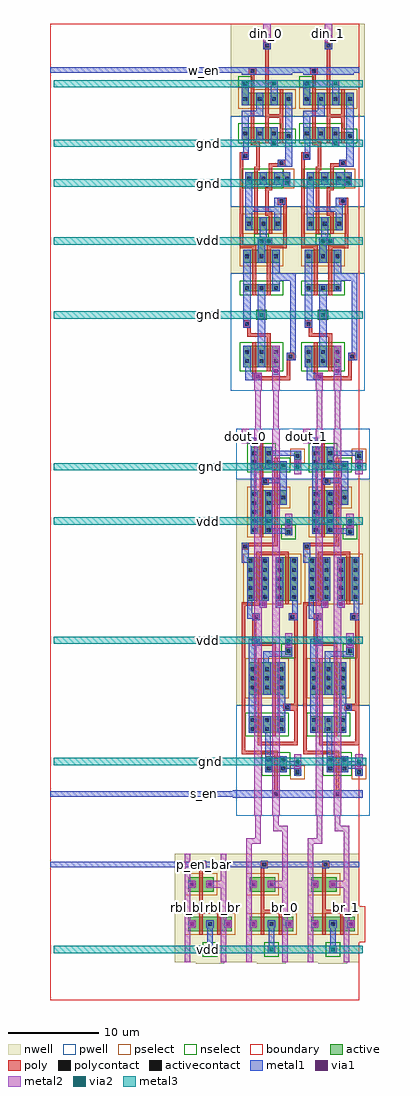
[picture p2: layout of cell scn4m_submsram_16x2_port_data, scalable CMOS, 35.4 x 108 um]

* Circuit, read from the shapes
.subckt scn4m_submsram_16x2_port_data bl_0 bl_1 br_0 br_1 din_0 din_1 dout_0 dout_1 gnd p_en_bar rbl_bl rbl_br s_en vdd w_en
M1 n1 w_en n2 gnd nfet w=1.4u l=0.4u
M2 gnd n3 bl_0 gnd nfet w=2.4u l=0.4u
M3 gnd n2 n4 gnd nfet w=0.8u l=0.4u
M4 n5 w_en n6 gnd nfet w=1.4u l=0.4u
M5 n7 n8 n9 gnd nfet w=1.8u l=0.4u
M6 gnd n10 dout_0 gnd nfet w=2.4u l=0.4u
M7 gnd din_0 n1 gnd nfet w=1.4u l=0.4u
M8 br_0 n4 gnd gnd nfet w=2.4u l=0.4u
M9 n3 n6 gnd gnd nfet w=0.8u l=0.4u
M10 gnd n11 n5 gnd nfet w=1.4u l=0.4u
M11 n8 n9 n7 gnd nfet w=1.8u l=0.4u
M12 gnd s_en n7 gnd nfet w=1.8u l=0.4u
M13 n10 n9 gnd gnd nfet w=0.8u l=0.4u
M14 n11 din_0 gnd gnd nfet w=0.8u l=0.4u
M15 n12 w_en n13 gnd nfet w=1.4u l=0.4u
M16 gnd n14 bl_1 gnd nfet w=2.4u l=0.4u
M17 gnd n13 n15 gnd nfet w=0.8u l=0.4u
M18 n16 w_en n17 gnd nfet w=1.4u l=0.4u
M19 n18 n19 n20 gnd nfet w=1.8u l=0.4u
M20 gnd n21 dout_1 gnd nfet w=2.4u l=0.4u
M21 gnd din_1 n12 gnd nfet w=1.4u l=0.4u
M22 br_1 n15 gnd gnd nfet w=2.4u l=0.4u
M23 n14 n17 gnd gnd nfet w=0.8u l=0.4u
M24 gnd n22 n16 gnd nfet w=1.4u l=0.4u
M25 n19 n20 n18 gnd nfet w=1.8u l=0.4u
M26 gnd s_en n18 gnd nfet w=1.8u l=0.4u
M27 n21 n20 gnd gnd nfet w=0.8u l=0.4u
M28 n22 din_1 gnd gnd nfet w=0.8u l=0.4u
M29 vdd p_en_bar rbl_bl vdd pfet w=1.6u l=0.4u
M30 rbl_br p_en_bar rbl_bl vdd pfet w=1.6u l=0.4u
M31 rbl_br p_en_bar vdd vdd pfet w=1.6u l=0.4u
M32 n2 w_en vdd vdd pfet w=1.4u l=0.4u
M33 vdd n2 n4 vdd pfet w=1.4u l=0.4u
M34 vdd w_en n6 vdd pfet w=1.4u l=0.4u
M35 bl_0 s_en n9 vdd pfet w=4.8u l=0.4u
M36 vdd n8 n9 vdd pfet w=3.6u l=0.4u
M37 vdd n10 dout_0 vdd pfet w=4.8u l=0.4u
M38 vdd p_en_bar bl_0 vdd pfet w=1.6u l=0.4u
M39 br_0 p_en_bar bl_0 vdd pfet w=1.6u l=0.4u
M40 vdd din_0 n2 vdd pfet w=1.4u l=0.4u
M41 n3 n6 vdd vdd pfet w=1.4u l=0.4u
M42 n6 n11 vdd vdd pfet w=1.4u l=0.4u
M43 n8 n9 vdd vdd pfet w=3.6u l=0.4u
M44 n10 n9 vdd vdd pfet w=1.6u l=0.4u
M45 br_0 p_en_bar vdd vdd pfet w=1.6u l=0.4u
M46 n11 din_0 vdd vdd pfet w=1.4u l=0.4u
M47 n8 s_en br_0 vdd pfet w=4.8u l=0.4u
M48 n13 w_en vdd vdd pfet w=1.4u l=0.4u
M49 vdd n13 n15 vdd pfet w=1.4u l=0.4u
M50 vdd w_en n17 vdd pfet w=1.4u l=0.4u
M51 bl_1 s_en n20 vdd pfet w=4.8u l=0.4u
M52 vdd n19 n20 vdd pfet w=3.6u l=0.4u
M53 vdd n21 dout_1 vdd pfet w=4.8u l=0.4u
M54 vdd p_en_bar bl_1 vdd pfet w=1.6u l=0.4u
M55 br_1 p_en_bar bl_1 vdd pfet w=1.6u l=0.4u
M56 vdd din_1 n13 vdd pfet w=1.4u l=0.4u
M57 n14 n17 vdd vdd pfet w=1.4u l=0.4u
M58 n17 n22 vdd vdd pfet w=1.4u l=0.4u
M59 n19 n20 vdd vdd pfet w=3.6u l=0.4u
M60 n21 n20 vdd vdd pfet w=1.6u l=0.4u
M61 br_1 p_en_bar vdd vdd pfet w=1.6u l=0.4u
M62 n22 din_1 vdd vdd pfet w=1.4u l=0.4u
M63 n19 s_en br_1 vdd pfet w=4.8u l=0.4u
.ends

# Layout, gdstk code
import gdstk
lib = gdstk.Library(unit=1e-6, precision=1e-09)
def R(c, l, rs):  # rectangles x0, y0, x1, y1
    for r in rs: c.add(gdstk.rectangle(r[:2], r[2:], *l))
def A(c, l, x, y, w, h, nx, ny, dx, dy):  # array of equal rectangles
    R(c, l, [(x+i*dx, y+j*dy, x+i*dx+w, y+j*dy+h) for i in range(nx) for j in range(ny)])
def P(c, l, *ps):  # polygons
    for p in ps: c.add(gdstk.Polygon(p, *l))
pwell = (41, 0)
nwell = (42, 0)
active = (43, 0)
pselect = (44, 0)
nselect = (45, 0)
poly = (46, 0)
polycontact = (47, 0)
activecontact = (48, 0)
metal1 = (49, 0)
via1 = (50, 0)
metal2 = (51, 0)
via2 = (61, 0)
metal3 = (62, 0)
boundary = (63, 0)

scn4m_submsram_16x2_cont = lib.new_cell('scn4m_submsram_16x2_contact_12')
R(scn4m_submsram_16x2_cont, nwell, [(-1.2,-1.2,2,2)])
R(scn4m_submsram_16x2_cont, active, [(0,0,0.8,0.8)])
R(scn4m_submsram_16x2_cont, pselect, [(-0.4,-0.4,1.2,1.2)])
R(scn4m_submsram_16x2_cont, activecontact, [(0.2,0.2,0.6,0.6)])
R(scn4m_submsram_16x2_cont, metal1, [(0,0,0.8,0.8)])
R(scn4m_submsram_16x2_cont, boundary, [(-1.2,-1.2,2,2)])

scn4m_submsram_16x2_pmos = lib.new_cell('scn4m_submsram_16x2_pmos_m1_w1_600_sm1_dm1')
R(scn4m_submsram_16x2_pmos, nwell, [(-1.2,-1.2,4,2.8)])
R(scn4m_submsram_16x2_pmos, active, [(0,0,2.8,1.6)])
R(scn4m_submsram_16x2_pmos, pselect, [(-0.4,-0.4,3.2,2)])
R(scn4m_submsram_16x2_pmos, poly, [(1.2,-0.4,1.6,2), (1.2,-0.4,1.6,2)])
R(scn4m_submsram_16x2_pmos, metal1, [(0,0.4,0.8,1.2), (2,0.4,2.8,1.2)])
R(scn4m_submsram_16x2_pmos, boundary, [(-1.2,-1.2,4,2.8)])
scn4m_submsram_16x2_pmos.add(gdstk.Reference(scn4m_submsram_16x2_cont, (0,0.4)))
scn4m_submsram_16x2_pmos.add(gdstk.Reference(scn4m_submsram_16x2_cont, (2,0.4)))
scn4m_submsram_16x2_pmos.add(gdstk.Label('G', (1.4,0.8), layer=46, texttype=0))
scn4m_submsram_16x2_pmos.add(gdstk.Label('S', (0.4,0.8), layer=49, texttype=0))
scn4m_submsram_16x2_pmos.add(gdstk.Label('D', (2.4,0.8), layer=49, texttype=0))

c_scn4m_submsram_16x2_cont = lib.new_cell('scn4m_submsram_16x2_contact_15')
R(c_scn4m_submsram_16x2_cont, poly, [(0,0,0.8,0.8)])
R(c_scn4m_submsram_16x2_cont, polycontact, [(0.2,0.2,0.6,0.6)])
R(c_scn4m_submsram_16x2_cont, metal1, [(0,0,0.8,0.8)])
R(c_scn4m_submsram_16x2_cont, boundary, [(0,0,0.8,0.8)])

c_scn4m_submsram_16x2_cont_ = lib.new_cell('scn4m_submsram_16x2_contact_23')
R(c_scn4m_submsram_16x2_cont_, nwell, [(-1.2,-1.2,2,2)])
R(c_scn4m_submsram_16x2_cont_, active, [(0,0,0.8,0.8)])
R(c_scn4m_submsram_16x2_cont_, nselect, [(-0.4,-0.4,1.2,1.2)])
R(c_scn4m_submsram_16x2_cont_, activecontact, [(0.2,0.2,0.6,0.6)])
R(c_scn4m_submsram_16x2_cont_, metal1, [(0,0,0.8,0.8)])
R(c_scn4m_submsram_16x2_cont_, boundary, [(-1.2,-1.2,2,2)])

c_scn4m_submsram_16x2_cont__ = lib.new_cell('scn4m_submsram_16x2_contact_18')
R(c_scn4m_submsram_16x2_cont__, metal1, [(0,0,0.8,0.8)])
R(c_scn4m_submsram_16x2_cont__, via1, [(0.2,0.2,0.6,0.6)])
R(c_scn4m_submsram_16x2_cont__, metal2, [(0,0,0.8,0.8)])
R(c_scn4m_submsram_16x2_cont__, boundary, [(0,0,0.8,0.8)])

c_scn4m_submsram_16x2_cont___ = lib.new_cell('scn4m_submsram_16x2_contact_24')
R(c_scn4m_submsram_16x2_cont___, metal1, [(0,0,0.8,0.8)])
R(c_scn4m_submsram_16x2_cont___, via1, [(0.2,0.2,0.6,0.6)])
R(c_scn4m_submsram_16x2_cont___, metal2, [(0,0,0.8,0.8)])
R(c_scn4m_submsram_16x2_cont___, boundary, [(0,0,0.8,0.8)])

scn4m_submsram_16x2_prec = lib.new_cell('scn4m_submsram_16x2_precharge_0')
R(scn4m_submsram_16x2_prec, nwell, [(0,0,6.8,12)])
R(scn4m_submsram_16x2_prec, poly, [(2.7,1,3.1,1.4), (2.9,1,3.1,1.4), (2.7,1.2,3.1,2.2), (2.7,4.6,3.1,6.6), (2.7,6.2,5.1,6.6)])
R(scn4m_submsram_16x2_prec, metal1, [(0,0.9,6.8,1.5), (3.6,7.8,4.2,10.6), (3.6,10.3,4.2,10.9)])
R(scn4m_submsram_16x2_prec, metal2, [(1.1,0,1.7,12), (1.1,0,1.7,12), (5.1,0,5.7,12), (5.1,0,5.7,12), (1.4,3,1.9,3.8), (3.9,3,5.4,3.8), (1.4,7.4,1.9,8.2), (5.4,7.4,5.9,8.2)])
R(scn4m_submsram_16x2_prec, boundary, [(0,0,6.8,12)])
scn4m_submsram_16x2_prec.add(gdstk.Reference(scn4m_submsram_16x2_pmos, (1.5,2.6)))
scn4m_submsram_16x2_prec.add(gdstk.Reference(scn4m_submsram_16x2_pmos, (1.5,7)))
scn4m_submsram_16x2_prec.add(gdstk.Reference(scn4m_submsram_16x2_pmos, (3.5,7)))
scn4m_submsram_16x2_prec.add(gdstk.Reference(c_scn4m_submsram_16x2_cont, (2.7,0.8)))
scn4m_submsram_16x2_prec.add(gdstk.Reference(c_scn4m_submsram_16x2_cont_, (3.5,10.2)))
scn4m_submsram_16x2_prec.add(gdstk.Reference(c_scn4m_submsram_16x2_cont__, (3.5,10.2)))
scn4m_submsram_16x2_prec.add(gdstk.Reference(c_scn4m_submsram_16x2_cont___, (1.5,3)))
scn4m_submsram_16x2_prec.add(gdstk.Reference(c_scn4m_submsram_16x2_cont___, (3.5,3)))
scn4m_submsram_16x2_prec.add(gdstk.Reference(c_scn4m_submsram_16x2_cont___, (1.5,7.4)))
scn4m_submsram_16x2_prec.add(gdstk.Reference(c_scn4m_submsram_16x2_cont___, (5.5,7.4)))
scn4m_submsram_16x2_prec.add(gdstk.Label('en_bar', (3.4,1.2), layer=49, texttype=0))
scn4m_submsram_16x2_prec.add(gdstk.Label('vdd', (3.9,10.6), layer=49, texttype=0))
scn4m_submsram_16x2_prec.add(gdstk.Label('bl', (1.4,6), layer=51, texttype=0))
scn4m_submsram_16x2_prec.add(gdstk.Label('br', (5.4,6), layer=51, texttype=0))

c_scn4m_submsram_16x2_cont____ = lib.new_cell('scn4m_submsram_16x2_contact_19')
R(c_scn4m_submsram_16x2_cont____, metal2, [(0,0,0.8,0.8)])
R(c_scn4m_submsram_16x2_cont____, via2, [(0.2,0.2,0.6,0.6)])
R(c_scn4m_submsram_16x2_cont____, metal3, [(0,0,0.8,0.8)])
R(c_scn4m_submsram_16x2_cont____, boundary, [(0,0,0.8,0.8)])

c_scn4m_submsram_16x2_prec = lib.new_cell('scn4m_submsram_16x2_precharge_array')
R(c_scn4m_submsram_16x2_prec, metal1, [(0,0.9,34.2,1.5), (16.9,0.9,17.5,1.5), (16.9,0.9,17.5,1.5), (23.7,0.9,24.3,1.5), (23.7,0.9,24.3,1.5), (30.5,0.9,31.1,1.5), (30.5,0.9,31.1,1.5)])
R(c_scn4m_submsram_16x2_prec, metal2, [(14.9,0,15.5,12), (18.9,0,19.5,12), (21.7,0,22.3,12), (25.7,0,26.3,12), (28.5,0,29.1,12), (32.5,0,33.1,12)])
R(c_scn4m_submsram_16x2_prec, metal3, [(0.4,10.2,34.6,11)])
R(c_scn4m_submsram_16x2_prec, boundary, [(0,0,34.2,12)])
c_scn4m_submsram_16x2_prec.add(gdstk.Reference(scn4m_submsram_16x2_prec, (13.8,0)))
c_scn4m_submsram_16x2_prec.add(gdstk.Reference(scn4m_submsram_16x2_prec, (20.6,0)))
c_scn4m_submsram_16x2_prec.add(gdstk.Reference(scn4m_submsram_16x2_prec, (27.4,0)))
c_scn4m_submsram_16x2_prec.add(gdstk.Reference(c_scn4m_submsram_16x2_cont__, (17.3,10.2)))
c_scn4m_submsram_16x2_prec.add(gdstk.Reference(c_scn4m_submsram_16x2_cont____, (17.3,10.2)))
c_scn4m_submsram_16x2_prec.add(gdstk.Reference(c_scn4m_submsram_16x2_cont__, (24.1,10.2)))
c_scn4m_submsram_16x2_prec.add(gdstk.Reference(c_scn4m_submsram_16x2_cont____, (24.1,10.2)))
c_scn4m_submsram_16x2_prec.add(gdstk.Reference(c_scn4m_submsram_16x2_cont__, (30.9,10.2)))
c_scn4m_submsram_16x2_prec.add(gdstk.Reference(c_scn4m_submsram_16x2_cont____, (30.9,10.2)))
c_scn4m_submsram_16x2_prec.add(gdstk.Label('en_bar', (17.1,1.2), layer=49, texttype=0))
c_scn4m_submsram_16x2_prec.add(gdstk.Label('bl_0', (15.2,6), layer=51, texttype=0))
c_scn4m_submsram_16x2_prec.add(gdstk.Label('br_0', (19.2,6), layer=51, texttype=0))
c_scn4m_submsram_16x2_prec.add(gdstk.Label('bl_1', (22,6), layer=51, texttype=0))
c_scn4m_submsram_16x2_prec.add(gdstk.Label('br_1', (26,6), layer=51, texttype=0))
c_scn4m_submsram_16x2_prec.add(gdstk.Label('bl_2', (28.8,6), layer=51, texttype=0))
c_scn4m_submsram_16x2_prec.add(gdstk.Label('br_2', (32.8,6), layer=51, texttype=0))
c_scn4m_submsram_16x2_prec.add(gdstk.Label('vdd', (17.5,10.6), layer=62, texttype=0))

sense_amp = lib.new_cell('sense_amp')
R(sense_amp, pwell, [(0,0,8,5.6), (0,30.6,8,42.8)])
R(sense_amp, nwell, [(0,5.6,8,30.6)])
R(sense_amp, active, [(1.6,2,4,3.6), (6.4,2.6,7.2,3.4), (1.6,3.6,5.6,4.4), (1.6,6.8,5.6,8.4), (1.6,8.4,4,11.6), (5.4,11,6.2,11.8), (1.2,14.2,3.6,19), (4.4,14.2,6.8,19), (5.4,24.2,6.2,25), (1.4,25.8,5.4,29.4), (1.4,31.8,5.4,33.6), (3.2,36.2,5.6,38), (6.4,37.6,7.2,38.4)])
R(sense_amp, pselect, [(6,2.2,7.6,3.8), (1.2,6.4,6,8.8), (1.2,8.8,4.4,12), (0.8,13.8,7.2,19.4), (1,25.4,5.8,29.8), (6,37.2,7.6,38.8)])
R(sense_amp, nselect, [(1.2,1.6,4.4,3.2), (1.2,3.2,6,4.8), (5,10.6,6.6,12.2), (5,23.8,6.6,25.4), (1,31.4,5.8,34), (2.8,35.8,6,38.4)])
R(sense_amp, poly, [(2.6,1.6,3,5.4), (4.2,3.2,4.6,12.6), (2.6,5.4,3.6,6.2), (2.6,6.2,3,12), (0.6,12.6,4.6,13), (0.6,13,1.4,13.4), (2.2,13.6,5.8,14), (2.2,14,2.6,19.2), (5.4,14,5.8,19.4), (0.6,19.2,2.6,19.6), (0.6,19.6,1,35.6), (1.8,20.4,2.6,21.2), (5.8,20.4,6.8,21.2), (1.8,21.2,2.2,23.2), (6.4,21.2,6.8,30.4), (1.8,23.2,2.6,23.6), (1.8,23.6,4.4,24), (4,24,4.4,34), (2.4,25.4,2.8,34.6), (5.2,30.4,6.8,31.2), (6.4,31.2,6.8,34.6), (2.4,34.6,6.8,35), (0.6,35.6,4.6,36), (4.2,36,4.6,40), (4,40,4.8,40.8)])
R(sense_amp, polycontact, [(3,5.6,3.4,6), (0.8,12.8,1.2,13.2), (2,20.6,2.4,21), (6,20.6,6.4,21), (2,23.4,2.4,23.8), (5.4,30.6,5.8,31), (4.2,40.2,4.6,40.6)])
A(sense_amp, activecontact, 1.8, 7, 0.4, 0.4, 1, 5, 0, 1)
A(sense_amp, activecontact, 3.4, 7, 0.4, 0.4, 1, 5, 0, 1)
A(sense_amp, activecontact, 1.4, 14.4, 0.4, 0.4, 4, 5, 1.6, 1)
A(sense_amp, activecontact, 1.6, 26.4, 0.4, 0.4, 3, 3, 1.6, 1)
A(sense_amp, activecontact, 1.6, 32, 0.4, 0.4, 3, 2, 1.6, 1)
R(sense_amp, activecontact, [(1.8,2.5,2.2,2.9), (3.4,2.5,3.8,2.9), (6.6,2.8,7,3.2), (1.8,3.5,2.2,3.9), (3.4,3.5,3.8,3.9), (5,3.8,5.4,4.2), (5,7.4,5.4,7.8), (5.6,11.2,6,11.6), (5.6,24.4,6,24.8), (3.4,36.4,3.8,36.8), (5,36.4,5.4,36.8), (3.4,37.4,3.8,37.8), (5,37.4,5.4,37.8), (6.6,37.8,7,38.2)])
R(sense_amp, metal1, [(0.6,0.8,1.4,1), (0.6,1,2.2,1.6), (1.6,1.6,2.2,2), (1.6,2,2.4,4.4), (3.2,2,4,2.4), (3.2,2.4,7.2,3), (3.2,3,4,4.4), (6.4,3,7.2,4.2), (4.8,3.6,5.6,5.4), (1.6,4.4,2.2,6.8), (2.8,5.4,5.6,6), (2.8,6,3.6,6.2), (4.8,6,5.6,8.4), (1.6,6.8,2.4,11.6), (3.2,6.8,4,11), (5.4,10.2,6.2,11), (3.2,11,6.2,11.6), (5.4,11.6,6.2,11.8), (0.6,12.6,1.4,14.2), (0.6,14.2,2,14.8), (2.8,14.2,3.6,19), (4.4,14.2,5.2,19.8), (6,14.2,6.8,19), (1.2,14.8,2,19), (1.2,19,1.8,20.4), (2.6,19,3.4,19.8), (6.2,19,6.8,20.4), (1.2,20.4,2.6,21), (5.8,20.4,6.8,21.2), (1.8,21,2.6,21.2), (1.4,23.2,2.6,24), (5.4,23.4,6.2,24.6), (1.4,24,2.2,33.6), (3,24.6,6.2,25.2), (3,25.2,3.6,25.8), (3,25.8,3.8,29.4), (4.6,25.8,5.4,30.4), (4.6,30.4,6,31.2), (4.6,31.2,5.4,33.6), (3,31.8,3.8,33.6), (3.2,33.6,3.8,36.2), (3.2,36.2,4,38), (4.8,36.2,5.6,36.8), (4.8,36.8,7.2,37.6), (4.8,37.6,5.6,38), (6.4,37.6,7.2,38.4), (-0.4,40,7.2,40.8), (-0.4,40,7.2,40.8)])
R(sense_amp, via1, [(0.8,1,1.2,1.4), (6.6,3.6,7,4), (5.6,10.4,6,10.8), (2.8,19.2,3.2,19.6), (4.6,19.2,5,19.6), (5.6,23.6,6,24), (6.6,37,7,37.4)])
R(sense_amp, metal2, [(0.6,0,1.4,1.6), (0.6,0,1.4,1.6), (2,0,2.8,19), (4,0,4.8,19), (6.4,3.4,7.2,5), (6.4,3.4,7.2,5), (5.4,9.4,6.2,11), (5.4,9.4,6.2,11), (2,19,3.4,19.8), (4,19,5.2,19.8), (2,19.8,2.8,42.8), (2,19.8,2.8,42.8), (4,19.8,4.8,42.8), (4,19.8,4.8,42.8), (5.4,22.6,6.2,24.2), (5.4,22.6,6.2,24.2), (6.4,36,7.2,37.6), (6.4,36,7.2,37.6)])
R(sense_amp, boundary, [(0,0,6.8,42.8)])
sense_amp.add(gdstk.Label('dout', (1,0.4), layer=51, texttype=0))
sense_amp.add(gdstk.Label('vdd', (5.8,9.8), layer=51, texttype=0))
sense_amp.add(gdstk.Label('br', (4.4,42.4), layer=51, texttype=0))
sense_amp.add(gdstk.Label('bl', (2.4,42.4), layer=51, texttype=0))
sense_amp.add(gdstk.Label('vdd', (5.8,23), layer=51, texttype=0))
sense_amp.add(gdstk.Label('gnd', (6.8,36.4), layer=51, texttype=0))
sense_amp.add(gdstk.Label('en', (0,40), layer=49, texttype=0))
sense_amp.add(gdstk.Label('gnd', (6.8,4.6), layer=51, texttype=0))
sense_amp.add(gdstk.Label('bl', (2.4,31.3), layer=51, texttype=0))
sense_amp.add(gdstk.Label('br', (4.4,31.3), layer=51, texttype=0))
sense_amp.add(gdstk.Label('dout', (1,0.8), layer=51, texttype=0))
sense_amp.add(gdstk.Label('en', (3.4,40.4), layer=49, texttype=0))
sense_amp.add(gdstk.Label('vdd', (5.8,10.2), layer=51, texttype=0))
sense_amp.add(gdstk.Label('vdd', (5.8,23.4), layer=51, texttype=0))
sense_amp.add(gdstk.Label('gnd', (6.8,36.8), layer=51, texttype=0))
sense_amp.add(gdstk.Label('gnd', (6.8,4.2), layer=51, texttype=0))

scn4m_submsram_16x2_sens = lib.new_cell('scn4m_submsram_16x2_sense_amp_array')
R(scn4m_submsram_16x2_sens, metal1, [(0,40.1,34.2,40.7), (23.7,40.1,24.3,40.7), (30.5,40.1,31.1,40.7)])
R(scn4m_submsram_16x2_sens, metal2, [(21.2,0,22,1.6), (28,0,28.8,1.6), (22.6,19.8,23.4,42.8), (24.6,19.8,25.4,42.8), (29.4,19.8,30.2,42.8), (31.4,19.8,32.2,42.8)])
R(scn4m_submsram_16x2_sens, metal3, [(0.4,3.8,35,4.6), (0.4,9.8,34.6,10.6), (0.4,23,34.6,23.8), (0.4,36.4,35,37.2)])
R(scn4m_submsram_16x2_sens, boundary, [(0,0,34.2,42.8)])
scn4m_submsram_16x2_sens.add(gdstk.Reference(sense_amp, (20.6,0)))
scn4m_submsram_16x2_sens.add(gdstk.Reference(sense_amp, (27.4,0)))
scn4m_submsram_16x2_sens.add(gdstk.Reference(c_scn4m_submsram_16x2_cont____, (26,9.8)))
scn4m_submsram_16x2_sens.add(gdstk.Reference(c_scn4m_submsram_16x2_cont____, (32.8,9.8)))
scn4m_submsram_16x2_sens.add(gdstk.Reference(c_scn4m_submsram_16x2_cont____, (26,23)))
scn4m_submsram_16x2_sens.add(gdstk.Reference(c_scn4m_submsram_16x2_cont____, (32.8,23)))
scn4m_submsram_16x2_sens.add(gdstk.Reference(c_scn4m_submsram_16x2_cont____, (27,36.4)))
scn4m_submsram_16x2_sens.add(gdstk.Reference(c_scn4m_submsram_16x2_cont____, (33.8,36.4)))
scn4m_submsram_16x2_sens.add(gdstk.Reference(c_scn4m_submsram_16x2_cont____, (27,3.8)))
scn4m_submsram_16x2_sens.add(gdstk.Reference(c_scn4m_submsram_16x2_cont____, (33.8,3.8)))
scn4m_submsram_16x2_sens.add(gdstk.Label('bl_0', (23,31.3), layer=51, texttype=0))
scn4m_submsram_16x2_sens.add(gdstk.Label('br_0', (25,31.3), layer=51, texttype=0))
scn4m_submsram_16x2_sens.add(gdstk.Label('data_0', (21.6,0.8), layer=51, texttype=0))
scn4m_submsram_16x2_sens.add(gdstk.Label('bl_1', (29.8,31.3), layer=51, texttype=0))
scn4m_submsram_16x2_sens.add(gdstk.Label('br_1', (31.8,31.3), layer=51, texttype=0))
scn4m_submsram_16x2_sens.add(gdstk.Label('data_1', (28.4,0.8), layer=51, texttype=0))
scn4m_submsram_16x2_sens.add(gdstk.Label('vdd', (17.5,10.2), layer=62, texttype=0))
scn4m_submsram_16x2_sens.add(gdstk.Label('vdd', (17.5,23.4), layer=62, texttype=0))
scn4m_submsram_16x2_sens.add(gdstk.Label('gnd', (17.7,36.8), layer=62, texttype=0))
scn4m_submsram_16x2_sens.add(gdstk.Label('gnd', (17.7,4.2), layer=62, texttype=0))
scn4m_submsram_16x2_sens.add(gdstk.Label('en', (17.1,40.4), layer=49, texttype=0))

write_driver = lib.new_cell('write_driver')
R(write_driver, pwell, [(-0.6,10.2,7.4,20.2), (-0.6,27.6,7.4,40.6)])
R(write_driver, nwell, [(-0.6,0,7.4,10.2), (-0.6,20.2,7.4,27.6)])
R(write_driver, active, [(0.6,6.2,1.4,7.6), (0.6,7.6,6.2,9), (0.6,11.4,4.6,12), (0.6,12,6.2,12.8), (1,16.4,6,17.8), (1,21.4,5,22.8), (2.4,23.6,3.2,25), (0.8,25,4.8,26.4), (0.8,28.8,4.8,29.6), (2.2,31.6,3.4,32.7), (0.8,35.6,4.8,38)])
R(write_driver, pselect, [(0.2,7,1.8,7.2), (0.2,7.2,6.6,9.4), (5.2,16,6.4,18.2), (0.6,21,5.4,23.2), (2,24.4,3.6,24.6), (0.4,24.6,5.2,26.8), (2.2,31.6,3.4,32.7)])
R(write_driver, nselect, [(0.2,5.8,1.8,7), (0.2,11,5,11.6), (0.2,11.6,6.6,13.2), (0.6,16,5.2,18.2), (2,23.2,3.6,24.4), (0.4,28.4,5.2,30), (0.4,35.2,5.2,38.4)])
R(write_driver, poly, [(3,2,3.8,2.8), (3.2,2.8,3.6,10), (1.4,4.8,2.2,5.6), (1.6,5.6,2,13), (4.8,7.2,5.2,10), (3.2,10,5.2,10.4), (3.2,10.4,3.6,13.2), (4.8,10.4,5.2,13.2), (1.6,13,2.6,13.4), (2.2,13.4,2.6,15.8), (0.4,14.2,1.4,15), (0.4,15,0.8,24.4), (4.6,15,5.4,15.4), (3.6,15.4,5.4,15.8), (2,15.8,2.6,16.2), (3.6,15.8,4,18), (2,16.2,2.4,23.2), (3.2,18,4,18.4), (3.2,18.4,3.6,20.8), (4.6,19.2,5.6,20), (5.2,20,5.6,24.4), (3.2,20.8,4,21.2), (3.6,21.2,4,23.2), (0.4,24.4,2.2,24.8), (3.4,24.4,5.6,24.8), (1.8,24.8,2.2,30), (3.4,24.8,3.8,30), (0.8,32.8,1.6,33.6), (1.2,33.6,1.6,34.2), (1.2,34.2,3.8,34.6), (3.4,34.6,3.8,38.4), (1.8,35.2,2.2,39), (5.6,36.4,6.4,37.2), (5.6,37.2,6,39), (1.8,39,6,39.4)])
R(write_driver, polycontact, [(3.2,2.2,3.6,2.6), (1.6,5,2,5.4), (0.8,14.4,1.2,14.8), (4.8,15.2,5.2,15.6), (4.8,19.4,5.2,19.8), (1,33,1.4,33.4), (5.8,36.6,6.2,37)])
A(write_driver, activecontact, 0.8, 8.1, 0.4, 0.4, 4, 1, 1.6, 0)
A(write_driver, activecontact, 0.8, 11.9, 0.4, 0.4, 3, 1, 1.6, 0)
A(write_driver, activecontact, 1.2, 16.9, 0.4, 0.4, 3, 2, 1.6, 5)
A(write_driver, activecontact, 1, 25.5, 0.4, 0.4, 3, 2, 1.6, 3.5)
A(write_driver, activecontact, 1, 36.1, 0.4, 0.4, 3, 2, 1.6, 1)
R(write_driver, activecontact, [(0.8,6.4,1.2,6.8), (5.6,12.2,6,12.6), (5.4,16.9,5.8,17.3), (2.6,23.8,3,24.2), (2.6,32,3,32.4)])
R(write_driver, metal1, [(3,1.2,3.8,2.8), (0.6,4.8,6.2,5.6), (0.6,4.8,6.2,5.6), (0.6,6.2,4.6,7), (0.6,7,1.4,9), (3.8,7,4.6,9), (2.2,7.6,3,9.6), (5.4,7.6,6.2,15), (0.6,9.6,3,10.2), (0.6,10.2,1.4,12.8), (2.2,11.4,3,12.8), (3.8,11.4,4.6,13.6), (0.8,12.8,1.4,14.2), (0.6,14.2,1.4,15), (4.6,15,6.2,15.8), (1,16.4,1.8,20.2), (2.6,16.4,3.4,17.8), (4.2,16.4,6,17.8), (5,17.8,6,18), (4.2,19.2,5.4,20), (4.2,20,5,20.2), (1,20.2,5,20.8), (1,20.8,1.8,22.8), (4.2,20.8,5,22.8), (2.6,21.4,3.4,23.6), (2.4,23.6,4,24.4), (2.4,24.4,3.2,26.4), (0.8,25,1.6,33.6), (4,25,4.8,27.6), (4,27.6,6.6,28.4), (4,28.4,4.8,29.6), (6,28.4,6.6,36.4), (0.8,35.6,1.6,38), (4,35.6,4.8,38.8), (5.6,36.4,6.6,37.2), (1,38,1.6,38.6), (1,38.6,2.8,39.4)])
P(write_driver, metal1, [(2.4,28.8),(2.4,31.695),(2.4,38),(3.2,38),(3.2,28.8)])
R(write_driver, via1, [(3.2,1.4,3.6,1.8), (4,6.4,4.4,6.8), (4,13,4.4,13.4), (5.4,17.4,5.8,17.8), (3.4,23.8,3.8,24.2), (2.6,32,3,32.4), (4.2,38.2,4.6,38.6), (2.2,38.8,2.6,39.2)])
R(write_driver, metal2, [(3,0,3.8,2), (3,0,3.8,2), (3.8,6.2,4.6,7), (3.8,6.2,4.6,7), (3.8,12.8,4.6,13.6), (3.8,12.8,4.6,13.6), (5.2,17.2,6,18), (5.2,17.2,6,18), (3.2,23.6,4,24.4), (3.2,23.6,4,24.4), (2.4,31.8,3.2,32.6), (2.4,31.8,3.2,32.6), (4,35.6,4.8,40.6), (4,35.6,4.8,40.6), (2,38.6,2.8,40.6), (2,38.6,2.8,40.6)])
R(write_driver, boundary, [(0,0,6.8,40.6)])
write_driver.add(gdstk.Label('en', (3.4,5.2), layer=49, texttype=0))
write_driver.add(gdstk.Label('din', (3,0.2), layer=51, texttype=0))
write_driver.add(gdstk.Label('gnd', (4.2,13.2), layer=51, texttype=0))
write_driver.add(gdstk.Label('gnd', (5.6,17.6), layer=51, texttype=0))
write_driver.add(gdstk.Label('vdd', (4.2,6.6), layer=51, texttype=0))
write_driver.add(gdstk.Label('vdd', (3.6,24), layer=51, texttype=0))
write_driver.add(gdstk.Label('bl', (2.4,40.2), layer=51, texttype=0))
write_driver.add(gdstk.Label('br', (4.4,40.2), layer=51, texttype=0))
write_driver.add(gdstk.Label('gnd', (2.8,32.2), layer=51, texttype=0))
write_driver.add(gdstk.Label('din', (3.4,1), layer=51, texttype=0))
write_driver.add(gdstk.Label('bl', (2.4,39.6), layer=51, texttype=0))
write_driver.add(gdstk.Label('br', (4.4,38.1), layer=51, texttype=0))
write_driver.add(gdstk.Label('en', (3.4,5.2), layer=49, texttype=0))
write_driver.add(gdstk.Label('vdd', (4.2,6.6), layer=51, texttype=0))
write_driver.add(gdstk.Label('vdd', (3.6,24), layer=51, texttype=0))
write_driver.add(gdstk.Label('gnd', (4.2,13.2), layer=51, texttype=0))
write_driver.add(gdstk.Label('gnd', (5.6,17.6), layer=51, texttype=0))
write_driver.add(gdstk.Label('gnd', (2.8,32.2), layer=51, texttype=0))

scn4m_submsram_16x2_writ = lib.new_cell('scn4m_submsram_16x2_write_driver_array')
R(scn4m_submsram_16x2_writ, metal1, [(0,4.8,34.2,5.4)])
R(scn4m_submsram_16x2_writ, metal2, [(23.6,0,24.4,2), (30.4,0,31.2,2), (24.6,35.6,25.4,40.6), (31.4,35.6,32.2,40.6), (22.6,38.6,23.4,40.6), (29.4,38.6,30.2,40.6)])
R(scn4m_submsram_16x2_writ, metal3, [(0.4,6.2,34.6,7), (0.4,12.8,34.6,13.6), (0.4,17.2,34.6,18), (0.4,23.6,34.6,24.4), (0.4,31.8,34.6,32.6)])
R(scn4m_submsram_16x2_writ, boundary, [(0,0,34.2,40.6)])
scn4m_submsram_16x2_writ.add(gdstk.Reference(write_driver, (20.6,0)))
scn4m_submsram_16x2_writ.add(gdstk.Reference(write_driver, (27.4,0)))
scn4m_submsram_16x2_writ.add(gdstk.Reference(c_scn4m_submsram_16x2_cont____, (24.4,6.2)))
scn4m_submsram_16x2_writ.add(gdstk.Reference(c_scn4m_submsram_16x2_cont____, (31.2,6.2)))
scn4m_submsram_16x2_writ.add(gdstk.Reference(c_scn4m_submsram_16x2_cont____, (23.8,23.6)))
scn4m_submsram_16x2_writ.add(gdstk.Reference(c_scn4m_submsram_16x2_cont____, (30.6,23.6)))
scn4m_submsram_16x2_writ.add(gdstk.Reference(c_scn4m_submsram_16x2_cont____, (24.4,12.8)))
scn4m_submsram_16x2_writ.add(gdstk.Reference(c_scn4m_submsram_16x2_cont____, (31.2,12.8)))
scn4m_submsram_16x2_writ.add(gdstk.Reference(c_scn4m_submsram_16x2_cont____, (25.8,17.2)))
scn4m_submsram_16x2_writ.add(gdstk.Reference(c_scn4m_submsram_16x2_cont____, (32.6,17.2)))
scn4m_submsram_16x2_writ.add(gdstk.Reference(c_scn4m_submsram_16x2_cont____, (23,31.8)))
scn4m_submsram_16x2_writ.add(gdstk.Reference(c_scn4m_submsram_16x2_cont____, (29.8,31.8)))
scn4m_submsram_16x2_writ.add(gdstk.Label('data_0', (24,1), layer=51, texttype=0))
scn4m_submsram_16x2_writ.add(gdstk.Label('bl_0', (23,39.6), layer=51, texttype=0))
scn4m_submsram_16x2_writ.add(gdstk.Label('br_0', (25,38.1), layer=51, texttype=0))
scn4m_submsram_16x2_writ.add(gdstk.Label('data_1', (30.8,1), layer=51, texttype=0))
scn4m_submsram_16x2_writ.add(gdstk.Label('bl_1', (29.8,39.6), layer=51, texttype=0))
scn4m_submsram_16x2_writ.add(gdstk.Label('br_1', (31.8,38.1), layer=51, texttype=0))
scn4m_submsram_16x2_writ.add(gdstk.Label('en', (17.1,5.1), layer=49, texttype=0))
scn4m_submsram_16x2_writ.add(gdstk.Label('vdd', (17.5,24), layer=62, texttype=0))
scn4m_submsram_16x2_writ.add(gdstk.Label('vdd', (17.5,6.6), layer=62, texttype=0))
scn4m_submsram_16x2_writ.add(gdstk.Label('gnd', (17.5,32.2), layer=62, texttype=0))
scn4m_submsram_16x2_writ.add(gdstk.Label('gnd', (17.5,13.2), layer=62, texttype=0))
scn4m_submsram_16x2_writ.add(gdstk.Label('gnd', (17.5,17.6), layer=62, texttype=0))

scn4m_submsram_16x2_port = lib.new_cell('scn4m_submsram_16x2_port_data')
R(scn4m_submsram_16x2_port, metal1, [(0,14.7,34.2,15.3), (0,22.5,34.2,23.1), (0,102.6,34.2,103.2)])
R(scn4m_submsram_16x2_port, metal2, [(14.9,4.2,15.5,16.2), (18.9,4.2,19.5,16.2), (21.7,4.2,22.3,16.2), (25.7,4.2,26.3,16.2), (28.5,4.2,29.1,16.2), (32.5,4.2,33.1,16.2), (21.7,15.9,22.3,16.5), (25.7,15.9,26.3,16.5), (28.5,15.9,29.1,16.5), (32.5,15.9,33.1,16.5), (21.7,16.2,22.3,17.6), (21.7,16.2,22.3,17.6), (25.7,16.2,26.3,19), (25.7,16.2,26.3,19), (28.5,16.2,29.1,17.6), (28.5,16.2,29.1,17.6), (32.5,16.2,33.1,19), (32.5,16.2,33.1,19), (21.7,17.3,23.3,17.9), (28.5,17.3,30.1,17.9), (22.7,17.6,23.3,20.4), (22.7,17.6,23.3,20.4), (29.5,17.6,30.1,20.4), (29.5,17.6,30.1,20.4), (24.7,18.7,26.3,19.3), (31.5,18.7,33.1,19.3), (24.7,19,25.3,20.4), (24.7,19,25.3,20.4), (31.5,19,32.1,20.4), (31.5,19,32.1,20.4), (22.7,20.1,23.3,20.7), (24.7,20.1,25.3,20.7), (29.5,20.1,30.1,20.7), (31.5,20.1,32.1,20.7), (22.7,43.4,23.3,66), (24.7,43.4,25.3,64.6), (29.5,43.4,30.1,66), (31.5,43.4,32.1,64.6), (21.2,61.6,22,63.2), (28,61.6,28.8,63.2), (24.7,64.6,25.3,67.4), (31.5,64.6,32.1,67.4), (22.7,66,23.3,67.4), (29.5,66,30.1,67.4), (23.6,106,24.4,108), (30.4,106,31.2,108)])
R(scn4m_submsram_16x2_port, metal3, [(0.4,5.2,34.6,6), (0.4,26,35,26.8), (0.4,39.4,34.6,40.2), (0.4,52.6,34.6,53.4), (0.4,58.6,35,59.4), (0.4,75.4,34.6,76.2), (0.4,83.6,34.6,84.4), (0.4,90,34.6,90.8), (0.4,94.4,34.6,95.2), (0.4,101,34.6,101.8)])
R(scn4m_submsram_16x2_port, boundary, [(0,0,34.2,108)])
scn4m_submsram_16x2_port.add(gdstk.Reference(c_scn4m_submsram_16x2_prec, (0,16.2), x_reflection=True))
scn4m_submsram_16x2_port.add(gdstk.Reference(scn4m_submsram_16x2_sens, (0,63.2), x_reflection=True))
scn4m_submsram_16x2_port.add(gdstk.Reference(scn4m_submsram_16x2_writ, (0,108), x_reflection=True))
scn4m_submsram_16x2_port.add(gdstk.Label('din_0', (24,107), layer=51, texttype=0))
scn4m_submsram_16x2_port.add(gdstk.Label('din_1', (30.8,107), layer=51, texttype=0))
scn4m_submsram_16x2_port.add(gdstk.Label('dout_0', (21.6,62.4), layer=51, texttype=0))
scn4m_submsram_16x2_port.add(gdstk.Label('dout_1', (28.4,62.4), layer=51, texttype=0))
scn4m_submsram_16x2_port.add(gdstk.Label('rbl_bl', (15.2,10.2), layer=51, texttype=0))
scn4m_submsram_16x2_port.add(gdstk.Label('rbl_br', (19.2,10.2), layer=51, texttype=0))
scn4m_submsram_16x2_port.add(gdstk.Label('bl_0', (22,10.2), layer=51, texttype=0))
scn4m_submsram_16x2_port.add(gdstk.Label('br_0', (26,10.2), layer=51, texttype=0))
scn4m_submsram_16x2_port.add(gdstk.Label('bl_1', (28.8,10.2), layer=51, texttype=0))
scn4m_submsram_16x2_port.add(gdstk.Label('br_1', (32.8,10.2), layer=51, texttype=0))
scn4m_submsram_16x2_port.add(gdstk.Label('p_en_bar', (17.1,15), layer=49, texttype=0))
scn4m_submsram_16x2_port.add(gdstk.Label('s_en', (17.1,22.8), layer=49, texttype=0))
scn4m_submsram_16x2_port.add(gdstk.Label('w_en', (17.1,102.9), layer=49, texttype=0))
scn4m_submsram_16x2_port.add(gdstk.Label('vdd', (17.5,39.8), layer=62, texttype=0))
scn4m_submsram_16x2_port.add(gdstk.Label('vdd', (17.5,84), layer=62, texttype=0))
scn4m_submsram_16x2_port.add(gdstk.Label('vdd', (17.5,53), layer=62, texttype=0))
scn4m_submsram_16x2_port.add(gdstk.Label('vdd', (17.5,5.6), layer=62, texttype=0))
scn4m_submsram_16x2_port.add(gdstk.Label('vdd', (17.5,101.4), layer=62, texttype=0))
scn4m_submsram_16x2_port.add(gdstk.Label('gnd', (17.7,26.4), layer=62, texttype=0))
scn4m_submsram_16x2_port.add(gdstk.Label('gnd', (17.7,59), layer=62, texttype=0))
scn4m_submsram_16x2_port.add(gdstk.Label('gnd', (17.5,94.8), layer=62, texttype=0))
scn4m_submsram_16x2_port.add(gdstk.Label('gnd', (17.5,90.4), layer=62, texttype=0))
scn4m_submsram_16x2_port.add(gdstk.Label('gnd', (17.5,75.8), layer=62, texttype=0))

lib.write_gds('scn4m_submsram_16x2_port_data.gds')
